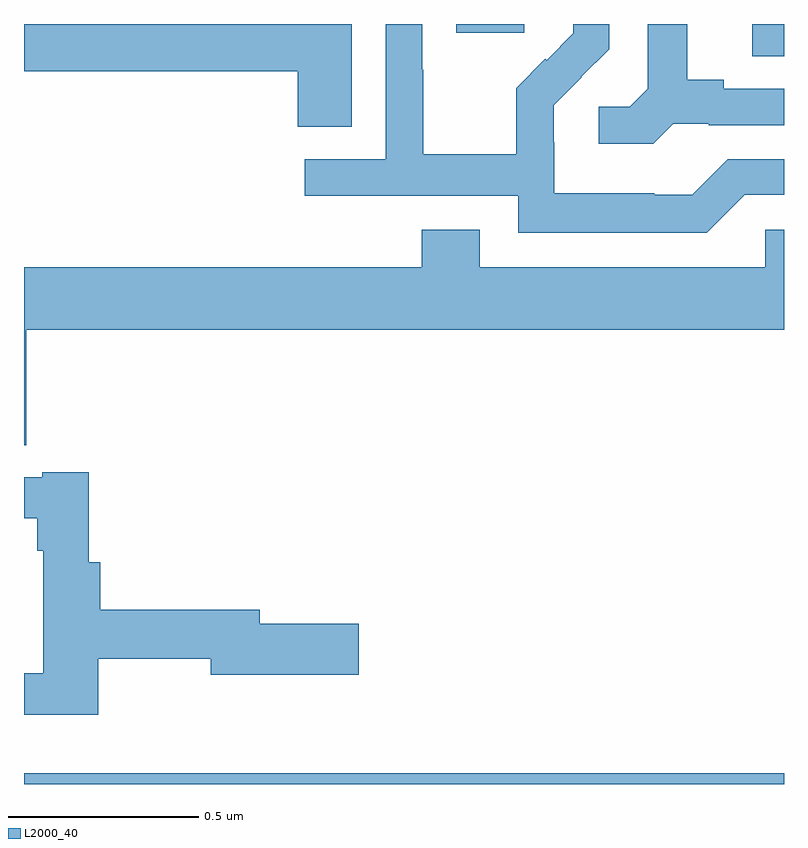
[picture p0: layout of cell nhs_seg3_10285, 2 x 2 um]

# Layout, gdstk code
import gdstk
lib = gdstk.Library(unit=1e-6, precision=1e-09)
def R(c, l, rs):  # rectangles x0, y0, x1, y1
    for r in rs: c.add(gdstk.rectangle(r[:2], r[2:], *l))
def P(c, l, *ps):  # polygons
    for p in ps: c.add(gdstk.Polygon(p, *l))
L2000_40 = (2000, 40)

nhs_seg3_10285 = lib.new_cell('nhs_seg3_10285')
R(nhs_seg3_10285, L2000_40, [(239,686.4,241,686.428), (240.917,688.315,241,688.4), (240.137,688.377,240.316,688.4)])
P(nhs_seg3_10285, L2000_40, [(240.897,687.951),(241,687.951),(241,688.044),(240.852,688.044),(240.759,687.951),(240.659,687.951),(240.659,687.955),(240.396,687.955),(240.396,688.089),(240.394,688.089),(240.394,688.186),(240.468,688.26),(240.467,688.261),(240.54,688.334),(240.54,688.4),(240.446,688.4),(240.446,688.376),(240.375,688.305),(240.372,688.308),(240.295,688.231),(240.295,688.057),(240.051,688.057),(240.051,688.28),(240.048,688.28),(240.048,688.4),(239.952,688.4),(239.952,688.044),(239.739,688.044),(239.739,687.948),(240.3,687.948),(240.3,687.851),(240.797,687.851)],
  [(240.708,688.137),(240.802,688.137),(240.802,688.134),(241,688.134),(241,688.23),(240.841,688.23),(240.841,688.253),(240.745,688.253),(240.745,688.4),(240.641,688.4),(240.641,688.229),(240.594,688.182),(240.513,688.182),(240.513,688.085),(240.656,688.085)],
  [(239.863,688.4),(239,688.4),(239,688.276),(239.72,688.276),(239.72,688.129),(239.863,688.129)],
  [(241,687.858),(240.951,687.858),(240.951,687.76),(240.199,687.76),(240.199,687.859),(240.047,687.859),(240.047,687.76),(239,687.76),(239,687.292),(239.006,687.292),(239.006,687.596),(241,687.596)],
  [(239.196,686.73),(239.492,686.73),(239.492,686.687),(239.881,686.687),(239.881,686.822),(239.62,686.822),(239.62,686.858),(239.201,686.858),(239.201,686.983),(239.171,686.983),(239.171,687.22),(239.048,687.22),(239.048,687.207),(239,687.207),(239,687.099),(239.035,687.099),(239.035,687.014),(239.05,687.014),(239.05,686.692),(239,686.692),(239,686.582),(239.196,686.582)])

lib.write_gds('nhs_seg3_10285.gds')
